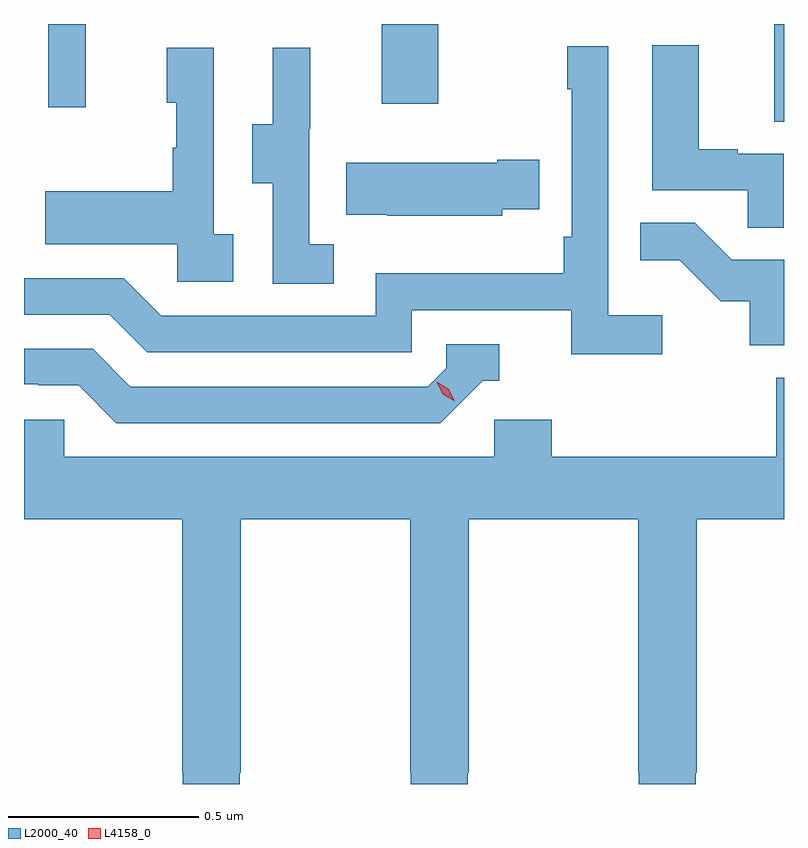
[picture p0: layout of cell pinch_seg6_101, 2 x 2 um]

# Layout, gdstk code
import gdstk
lib = gdstk.Library(unit=1e-6, precision=1e-09)
def R(c, l, rs):  # rectangles x0, y0, x1, y1
    for r in rs: c.add(gdstk.rectangle(r[:2], r[2:], *l))
def P(c, l, *ps):  # polygons
    for p in ps: c.add(gdstk.Polygon(p, *l))
L2000_40 = (2000, 40)
L4158_0 = (4158, 0)

pinch_seg6_101 = lib.new_cell('pinch_seg6_101')
R(pinch_seg6_101, L2000_40, [(949.565,923.074,949.591,923.331), (947.655,923.112,947.753,923.331), (948.533,923.121,948.681,923.331)])
P(pinch_seg6_101, L2000_40, [(949.59,922.989),(949.469,922.989),(949.469,923.002),(949.366,923.002),(949.366,923.275),(949.244,923.275),(949.244,922.893),(949.495,922.893),(949.495,922.795),(949.59,922.795)],
  [(949.27,922.564),(949.128,922.564),(949.128,923.272),(949.02,923.272),(949.02,923.159),(949.032,923.159),(949.032,922.771),(949.012,922.771),(949.012,922.675),(948.516,922.675),(948.516,922.563),(947.952,922.563),(947.853,922.662),(947.591,922.662),(947.591,922.566),(947.816,922.566),(947.915,922.467),(948.612,922.467),(948.612,922.578),(949.031,922.578),(949.031,922.462),(949.27,922.462)],
  [(948.142,922.778),(948.09,922.778),(948.09,923.269),(947.966,923.269),(947.966,923.124),(947.992,923.124),(947.992,923.006),(947.982,923.006),(947.982,922.891),(947.647,922.891),(947.647,922.751),(947.994,922.751),(947.994,922.653),(948.142,922.653)],
  [(948.406,922.751),(948.342,922.751),(948.342,923.055),(948.344,923.055),(948.344,923.269),(948.245,923.269),(948.245,923.067),(948.191,923.067),(948.191,922.912),(948.246,922.912),(948.246,922.648),(948.406,922.648)],
  [(948.849,922.844),(948.947,922.844),(948.947,922.974),(948.836,922.974),(948.836,922.966),(948.439,922.966),(948.439,922.829),(948.547,922.829),(948.547,922.826),(948.849,922.826)],
  [(949.591,922.71),(949.454,922.71),(949.356,922.808),(949.213,922.808),(949.213,922.709),(949.317,922.709),(949.424,922.602),(949.501,922.602),(949.501,922.485),(949.591,922.485)],
  [(948.798,922.392),(948.841,922.392),(948.841,922.488),(948.702,922.488),(948.702,922.425),(948.654,922.377),(947.871,922.377),(947.772,922.476),(947.591,922.476),(947.591,922.383),(947.628,922.383),(947.628,922.38),(947.735,922.38),(947.834,922.281),(948.687,922.281)],
  [(949.207,921.361),(949.209,921.361),(949.209,921.331),(949.359,921.331),(949.359,921.361),(949.362,921.361),(949.362,922.028),(949.591,922.028),(949.591,922.4),(949.571,922.4),(949.571,922.192),(948.98,922.192),(948.98,922.29),(948.828,922.29),(948.828,922.192),(947.697,922.192),(947.697,922.29),(947.591,922.29),(947.591,922.028),(948.007,922.028),(948.007,921.361),(948.009,921.361),(948.009,921.331),(948.159,921.331),(948.159,921.361),(948.162,921.361),(948.162,922.028),(948.607,922.028),(948.607,921.361),(948.609,921.361),(948.609,921.331),(948.759,921.331),(948.759,921.361),(948.762,921.361),(948.762,922.028),(949.207,922.028)])
P(pinch_seg6_101, L4158_0, [(948.724,922.338),(948.693,922.357),(948.677,922.39),(948.677,922.39),(948.677,922.39),(948.708,922.371),(948.724,922.338),(948.724,922.338)])

lib.write_gds('pinch_seg6_101.gds')
